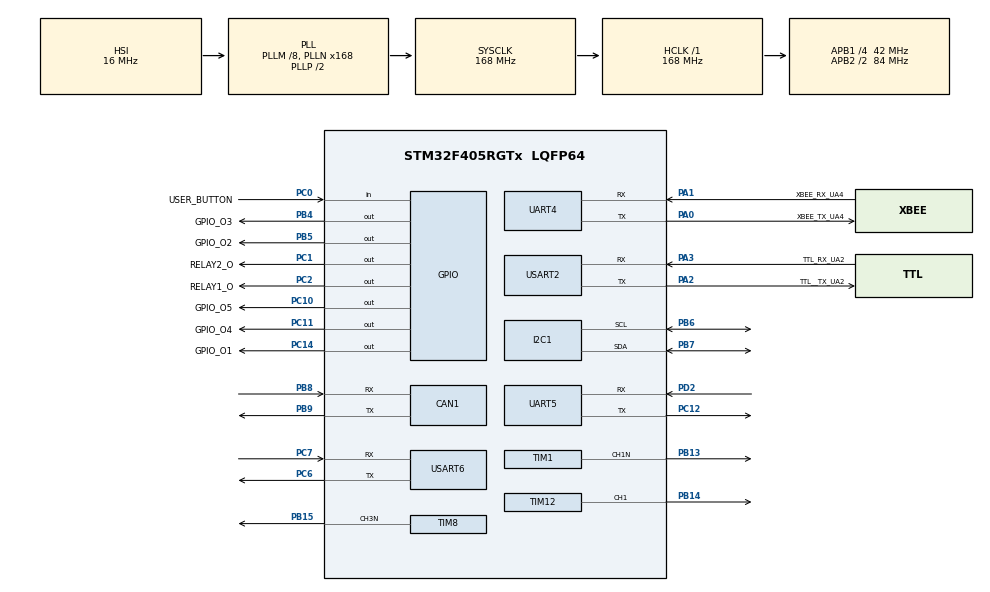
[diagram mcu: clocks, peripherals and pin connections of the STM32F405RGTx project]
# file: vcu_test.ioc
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CAN1.CalculateTimeQuantum=380.95238095238096
Mcu.Family=STM32F4
Mcu.Name=STM32F405RGTx
Mcu.Package=LQFP64
NVIC.PriorityGroup=NVIC_PRIORITYGROUP_4
PA0-WKUP.GPIO_Label=XBEE_TX_UA4
PA0-WKUP.Mode=Asynchronous
PA0-WKUP.Signal=UART4_TX
PA1.GPIO_Label=XBEE_RX_UA4
PA1.Mode=Asynchronous
PA1.Signal=UART4_RX
PA13.Mode=Serial_Wire
PA13.Signal=SYS_JTMS-SWDIO
PA14.Mode=Serial_Wire
PA14.Signal=SYS_JTCK-SWCLK
PA2.GPIO_Label=TTL__TX_UA2
PA2.Mode=Asynchronous
PA2.Signal=USART2_TX
PA3.GPIO_Label=TTL_RX_UA2
PA3.Mode=Asynchronous
PA3.Signal=USART2_RX
PB13.Mode=PWM Generation1 CH1N
PB13.Signal=TIM1_CH1N
PB14.Signal=S_TIM12_CH1
PB15.Mode=PWM Generation3 CH3N
PB15.Signal=TIM8_CH3N
PB3.Signal=SYS_JTDO-SWO
PB4.GPIO_Label=GPIO_O3
PB4.Signal=GPIO_Output
PB5.GPIO_Label=GPIO_O2
PB5.Signal=GPIO_Output
PB6.Mode=I2C
PB6.Signal=I2C1_SCL
PB7.Mode=I2C
PB7.Signal=I2C1_SDA
PB8.Mode=Master
PB8.Signal=CAN1_RX
PB9.Mode=Master
PB9.Signal=CAN1_TX
PC0.GPIO_Label=USER_BUTTON
PC0.Signal=GPIO_Input
PC1.GPIO_Label=RELAY2_O
PC1.Signal=GPIO_Output
PC10.GPIO_Label=GPIO_O5
PC10.Signal=GPIO_Output
PC11.GPIO_Label=GPIO_O4
PC11.Signal=GPIO_Output
PC12.Mode=Asynchronous
PC12.Signal=UART5_TX
PC14-OSC32_IN.GPIO_Label=GPIO_O1
PC14-OSC32_IN.Signal=GPIO_Output
PC2.GPIO_Label=RELAY1_O
PC2.Signal=GPIO_Output
PC6.Mode=Asynchronous
PC6.Signal=USART6_TX
PC7.Mode=Asynchronous
PC7.Signal=USART6_RX
PD2.Mode=Asynchronous
PD2.Signal=UART5_RX
PH0-OSC_IN.Mode=HSE-External-Oscillator
PH0-OSC_IN.Signal=RCC_OSC_IN
PH1-OSC_OUT.Mode=HSE-External-Oscillator
PH1-OSC_OUT.Signal=RCC_OSC_OUT
ProjectManager.HeapSize=0x200
ProjectManager.StackSize=0x400
ProjectManager.TargetToolchain=STM32CubeIDE
RCC.48MHZClocksFreq_Value=84000000
RCC.AHBFreq_Value=168000000
RCC.APB1CLKDivider=RCC_HCLK_DIV4
RCC.APB1Freq_Value=42000000
RCC.APB1TimFreq_Value=84000000
RCC.APB2CLKDivider=RCC_HCLK_DIV2
RCC.APB2Freq_Value=84000000
RCC.APB2TimFreq_Value=168000000
RCC.CortexFreq_Value=168000000
RCC.HCLKFreq_Value=168000000
RCC.HSE_VALUE=25000000
RCC.HSI_VALUE=16000000
RCC.LSE_VALUE=32768
RCC.PLLM=8
RCC.PLLN=168
RCC.SYSCLKFreq_VALUE=168000000
RCC.SYSCLKSource=RCC_SYSCLKSOURCE_PLLCLK
RCC.VCOOutputFreq_Value=336000000
SH.S_TIM12_CH1.0=TIM12_CH1,PWM Generation1 CH1
TIM1.Channel-PWM\ Generation1\ CH1N=TIM_CHANNEL_1
TIM1.Period=4718
TIM1.Prescaler=355
TIM12.Channel-PWM\ Generation1\ CH1=TIM_CHANNEL_1
TIM8.Channel-PWM\ Generation3\ CH3N=TIM_CHANNEL_3
UART4.VirtualMode=Asynchronous
UART5.VirtualMode=Asynchronous
USART2.VirtualMode=VM_ASYNC
USART6.VirtualMode=VM_ASYNC
board=custom

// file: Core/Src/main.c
/* USER CODE BEGIN Header */
/**
  ******************************************************************************
  * @file           : main.c
  * @brief          : Main program body
  ******************************************************************************
  * @attention
  *
  * <h2><center>&copy; Copyright (c) 2021 STMicroelectronics.
  * All rights reserved.</center></h2>
  *
  * This software component is licensed by ST under BSD 3-Clause license,
  * the "License"; You may not use this file except in compliance with the
  * License. You may obtain a copy of the License at:
  *                        opensource.org/licenses/BSD-3-Clause
  *
  ******************************************************************************
  */
/* USER CODE END Header */
#include "main.h"

/* USER CODE BEGIN Includes */
#include "stm32f4xx.h"
#include "stm32f4xx_hal.h"
#include "stdio.h"
#include "stdbool.h"
/* USER CODE END Includes */

CAN_HandleTypeDef hcan1;

I2C_HandleTypeDef hi2c1;

TIM_HandleTypeDef htim1;
TIM_HandleTypeDef htim8;
TIM_HandleTypeDef htim12;

UART_HandleTypeDef huart4;
UART_HandleTypeDef huart5;
UART_HandleTypeDef huart2;
UART_HandleTypeDef huart6;

void SystemClock_Config(void);
static void MX_GPIO_Init(void);
static void MX_TIM1_Init(void);
static void MX_TIM8_Init(void);
static void MX_TIM12_Init(void);
static void MX_CAN1_Init(void);
static void MX_I2C1_Init(void);
static void MX_UART4_Init(void);
static void MX_UART5_Init(void);
static void MX_USART2_UART_Init(void);
static void MX_USART6_UART_Init(void);

/* USER CODE BEGIN 0 */
void servo_angle(int angle)
{
	if(angle<0)
		angle = 0;
	if(angle>180)
		angle = 180;
	angle = angle +45;
	__HAL_TIM_SET_COMPARE(&htim1, TIM_CHANNEL_1, angle);
}

void relay_test(void)
{
HAL_GPIO_WritePin(GPIOC, GPIO_PIN_2, GPIO_PIN_RESET);
HAL_Delay(1000);
HAL_GPIO_WritePin(GPIOC, GPIO_PIN_2, GPIO_PIN_SET);
HAL_Delay(1000);

}

/* USER CODE END 0 */

int main(void)
{

  /* MCU Configuration--------------------------------------------------------*/

  /* Reset of all peripherals, Initializes the Flash interface and the Systick. */
  HAL_Init();

  /* Configure the system clock */
  SystemClock_Config();

  /* Initialize all configured peripherals */
  MX_GPIO_Init();
  MX_TIM1_Init();
  MX_TIM8_Init();
  MX_TIM12_Init();
  MX_CAN1_Init();
  MX_I2C1_Init();
  MX_UART4_Init();
  MX_UART5_Init();
  MX_USART2_UART_Init();
  MX_USART6_UART_Init();
  /* USER CODE BEGIN 2 */
  HAL_TIM_PWM_Start(&htim1, TIM_CHANNEL_1);
  /* USER CODE END 2 */

  /* Infinite loop */
  /* USER CODE BEGIN WHILE */
  while (1)
  {

	  for(int i = 0; i<=180;i++)
	  	  {
	  		  servo_angle(i);
	  		  HAL_Delay(10);
	  	  }
	  	  servo_angle(0);
	  	  HAL_Delay(1000);
	  	  servo_angle(100);
	  	  HAL_Delay(2000);
    /* USER CODE END WHILE */

  }
}

void SystemClock_Config(void)
{
  RCC_OscInitTypeDef RCC_OscInitStruct = {0};
  RCC_ClkInitTypeDef RCC_ClkInitStruct = {0};

  /** Configure the main internal regulator output voltage
  */
  __HAL_RCC_PWR_CLK_ENABLE();
  __HAL_PWR_VOLTAGESCALING_CONFIG(PWR_REGULATOR_VOLTAGE_SCALE1);
  /** Initializes the RCC Oscillators according to the specified parameters
  * in the RCC_OscInitTypeDef structure.
  */
  RCC_OscInitStruct.OscillatorType = RCC_OSCILLATORTYPE_HSI;
  RCC_OscInitStruct.HSIState = RCC_HSI_ON;
  RCC_OscInitStruct.HSICalibrationValue = RCC_HSICALIBRATION_DEFAULT;
  RCC_OscInitStruct.PLL.PLLState = RCC_PLL_ON;
  RCC_OscInitStruct.PLL.PLLSource = RCC_PLLSOURCE_HSI;
  RCC_OscInitStruct.PLL.PLLM = 8;
  RCC_OscInitStruct.PLL.PLLN = 168;
  RCC_OscInitStruct.PLL.PLLP = RCC_PLLP_DIV2;
  RCC_OscInitStruct.PLL.PLLQ = 4;
  if (HAL_RCC_OscConfig(&RCC_OscInitStruct) != HAL_OK)
  {
    Error_Handler();
  }
  /** Initializes the CPU, AHB and APB buses clocks
  */
  RCC_ClkInitStruct.ClockType = RCC_CLOCKTYPE_HCLK|RCC_CLOCKTYPE_SYSCLK
                              |RCC_CLOCKTYPE_PCLK1|RCC_CLOCKTYPE_PCLK2;
  RCC_ClkInitStruct.SYSCLKSource = RCC_SYSCLKSOURCE_PLLCLK;
  RCC_ClkInitStruct.AHBCLKDivider = RCC_SYSCLK_DIV1;
  RCC_ClkInitStruct.APB1CLKDivider = RCC_HCLK_DIV4;
  RCC_ClkInitStruct.APB2CLKDivider = RCC_HCLK_DIV2;

  if (HAL_RCC_ClockConfig(&RCC_ClkInitStruct, FLASH_LATENCY_5) != HAL_OK)
  {
    Error_Handler();
  }
}

static void MX_CAN1_Init(void)
{

  hcan1.Instance = CAN1;
  hcan1.Init.Prescaler = 16;
  hcan1.Init.Mode = CAN_MODE_NORMAL;
  hcan1.Init.SyncJumpWidth = CAN_SJW_1TQ;
  hcan1.Init.TimeSeg1 = CAN_BS1_1TQ;
  hcan1.Init.TimeSeg2 = CAN_BS2_1TQ;
  hcan1.Init.TimeTriggeredMode = DISABLE;
  hcan1.Init.AutoBusOff = DISABLE;
  hcan1.Init.AutoWakeUp = DISABLE;
  hcan1.Init.AutoRetransmission = DISABLE;
  hcan1.Init.ReceiveFifoLocked = DISABLE;
  hcan1.Init.TransmitFifoPriority = DISABLE;
  if (HAL_CAN_Init(&hcan1) != HAL_OK)
  {
    Error_Handler();
  }

}

static void MX_I2C1_Init(void)
{

  hi2c1.Instance = I2C1;
  hi2c1.Init.ClockSpeed = 100000;
  hi2c1.Init.DutyCycle = I2C_DUTYCYCLE_2;
  hi2c1.Init.OwnAddress1 = 0;
  hi2c1.Init.AddressingMode = I2C_ADDRESSINGMODE_7BIT;
  hi2c1.Init.DualAddressMode = I2C_DUALADDRESS_DISABLE;
  hi2c1.Init.OwnAddress2 = 0;
  hi2c1.Init.GeneralCallMode = I2C_GENERALCALL_DISABLE;
  hi2c1.Init.NoStretchMode = I2C_NOSTRETCH_DISABLE;
  if (HAL_I2C_Init(&hi2c1) != HAL_OK)
  {
    Error_Handler();
  }

}

static void MX_TIM1_Init(void)
{

  TIM_MasterConfigTypeDef sMasterConfig = {0};
  TIM_OC_InitTypeDef sConfigOC = {0};
  TIM_BreakDeadTimeConfigTypeDef sBreakDeadTimeConfig = {0};

  htim1.Instance = TIM1;
  htim1.Init.Prescaler = 355;
  htim1.Init.CounterMode = TIM_COUNTERMODE_UP;
  htim1.Init.Period = 4718;
  htim1.Init.ClockDivision = TIM_CLOCKDIVISION_DIV1;
  htim1.Init.RepetitionCounter = 0;
  htim1.Init.AutoReloadPreload = TIM_AUTORELOAD_PRELOAD_DISABLE;
  if (HAL_TIM_PWM_Init(&htim1) != HAL_OK)
  {
    Error_Handler();
  }
  sMasterConfig.MasterOutputTrigger = TIM_TRGO_RESET;
  sMasterConfig.MasterSlaveMode = TIM_MASTERSLAVEMODE_DISABLE;
  if (HAL_TIMEx_MasterConfigSynchronization(&htim1, &sMasterConfig) != HAL_OK)
  {
    Error_Handler();
  }
  sConfigOC.OCMode = TIM_OCMODE_PWM1;
  sConfigOC.Pulse = 0;
  sConfigOC.OCPolarity = TIM_OCPOLARITY_HIGH;
  sConfigOC.OCNPolarity = TIM_OCNPOLARITY_HIGH;
  sConfigOC.OCFastMode = TIM_OCFAST_DISABLE;
  sConfigOC.OCIdleState = TIM_OCIDLESTATE_RESET;
  sConfigOC.OCNIdleState = TIM_OCNIDLESTATE_RESET;
  if (HAL_TIM_PWM_ConfigChannel(&htim1, &sConfigOC, TIM_CHANNEL_1) != HAL_OK)
  {
    Error_Handler();
  }
  sBreakDeadTimeConfig.OffStateRunMode = TIM_OSSR_DISABLE;
  sBreakDeadTimeConfig.OffStateIDLEMode = TIM_OSSI_DISABLE;
  sBreakDeadTimeConfig.LockLevel = TIM_LOCKLEVEL_OFF;
  sBreakDeadTimeConfig.DeadTime = 0;
  sBreakDeadTimeConfig.BreakState = TIM_BREAK_DISABLE;
  sBreakDeadTimeConfig.BreakPolarity = TIM_BREAKPOLARITY_HIGH;
  sBreakDeadTimeConfig.AutomaticOutput = TIM_AUTOMATICOUTPUT_DISABLE;
  if (HAL_TIMEx_ConfigBreakDeadTime(&htim1, &sBreakDeadTimeConfig) != HAL_OK)
  {
    Error_Handler();
  }
  HAL_TIM_MspPostInit(&htim1);

}

static void MX_TIM8_Init(void)
{

  TIM_MasterConfigTypeDef sMasterConfig = {0};
  TIM_OC_InitTypeDef sConfigOC = {0};
  TIM_BreakDeadTimeConfigTypeDef sBreakDeadTimeConfig = {0};

  htim8.Instance = TIM8;
  htim8.Init.Prescaler = 0;
  htim8.Init.CounterMode = TIM_COUNTERMODE_UP;
  htim8.Init.Period = 65535;
  htim8.Init.ClockDivision = TIM_CLOCKDIVISION_DIV1;
  htim8.Init.RepetitionCounter = 0;
  htim8.Init.AutoReloadPreload = TIM_AUTORELOAD_PRELOAD_DISABLE;
  if (HAL_TIM_PWM_Init(&htim8) != HAL_OK)
  {
    Error_Handler();
  }
  sMasterConfig.MasterOutputTrigger = TIM_TRGO_RESET;
  sMasterConfig.MasterSlaveMode = TIM_MASTERSLAVEMODE_DISABLE;
  if (HAL_TIMEx_MasterConfigSynchronization(&htim8, &sMasterConfig) != HAL_OK)
  {
    Error_Handler();
  }
  sConfigOC.OCMode = TIM_OCMODE_PWM1;
  sConfigOC.Pulse = 0;
  sConfigOC.OCPolarity = TIM_OCPOLARITY_HIGH;
  sConfigOC.OCNPolarity = TIM_OCNPOLARITY_HIGH;
  sConfigOC.OCFastMode = TIM_OCFAST_DISABLE;
  sConfigOC.OCIdleState = TIM_OCIDLESTATE_RESET;
  sConfigOC.OCNIdleState = TIM_OCNIDLESTATE_RESET;
  if (HAL_TIM_PWM_ConfigChannel(&htim8, &sConfigOC, TIM_CHANNEL_3) != HAL_OK)
  {
    Error_Handler();
  }
  sBreakDeadTimeConfig.OffStateRunMode = TIM_OSSR_DISABLE;
  sBreakDeadTimeConfig.OffStateIDLEMode = TIM_OSSI_DISABLE;
  sBreakDeadTimeConfig.LockLevel = TIM_LOCKLEVEL_OFF;
  sBreakDeadTimeConfig.DeadTime = 0;
  sBreakDeadTimeConfig.BreakState = TIM_BREAK_DISABLE;
  sBreakDeadTimeConfig.BreakPolarity = TIM_BREAKPOLARITY_HIGH;
  sBreakDeadTimeConfig.AutomaticOutput = TIM_AUTOMATICOUTPUT_DISABLE;
  if (HAL_TIMEx_ConfigBreakDeadTime(&htim8, &sBreakDeadTimeConfig) != HAL_OK)
  {
    Error_Handler();
  }
  HAL_TIM_MspPostInit(&htim8);

}

static void MX_TIM12_Init(void)
{

  TIM_OC_InitTypeDef sConfigOC = {0};

  htim12.Instance = TIM12;
  htim12.Init.Prescaler = 0;
  htim12.Init.CounterMode = TIM_COUNTERMODE_UP;
  htim12.Init.Period = 65535;
  htim12.Init.ClockDivision = TIM_CLOCKDIVISION_DIV1;
  htim12.Init.AutoReloadPreload = TIM_AUTORELOAD_PRELOAD_DISABLE;
  if (HAL_TIM_PWM_Init(&htim12) != HAL_OK)
  {
    Error_Handler();
  }
  sConfigOC.OCMode = TIM_OCMODE_PWM1;
  sConfigOC.Pulse = 0;
  sConfigOC.OCPolarity = TIM_OCPOLARITY_HIGH;
  sConfigOC.OCFastMode = TIM_OCFAST_DISABLE;
  if (HAL_TIM_PWM_ConfigChannel(&htim12, &sConfigOC, TIM_CHANNEL_1) != HAL_OK)
  {
    Error_Handler();
  }
  HAL_TIM_MspPostInit(&htim12);

}

static void MX_UART4_Init(void)
{

  huart4.Instance = UART4;
  huart4.Init.BaudRate = 115200;
  huart4.Init.WordLength = UART_WORDLENGTH_8B;
  huart4.Init.StopBits = UART_STOPBITS_1;
  huart4.Init.Parity = UART_PARITY_NONE;
  huart4.Init.Mode = UART_MODE_TX_RX;
  huart4.Init.HwFlowCtl = UART_HWCONTROL_NONE;
  huart4.Init.OverSampling = UART_OVERSAMPLING_16;
  if (HAL_UART_Init(&huart4) != HAL_OK)
  {
    Error_Handler();
  }

}

static void MX_UART5_Init(void)
{

  huart5.Instance = UART5;
  huart5.Init.BaudRate = 115200;
  huart5.Init.WordLength = UART_WORDLENGTH_8B;
  huart5.Init.StopBits = UART_STOPBITS_1;
  huart5.Init.Parity = UART_PARITY_NONE;
  huart5.Init.Mode = UART_MODE_TX_RX;
  huart5.Init.HwFlowCtl = UART_HWCONTROL_NONE;
  huart5.Init.OverSampling = UART_OVERSAMPLING_16;
  if (HAL_UART_Init(&huart5) != HAL_OK)
  {
    Error_Handler();
  }

}

static void MX_USART2_UART_Init(void)
{

  huart2.Instance = USART2;
  huart2.Init.BaudRate = 115200;
  huart2.Init.WordLength = UART_WORDLENGTH_8B;
  huart2.Init.StopBits = UART_STOPBITS_1;
  huart2.Init.Parity = UART_PARITY_NONE;
  huart2.Init.Mode = UART_MODE_TX_RX;
  huart2.Init.HwFlowCtl = UART_HWCONTROL_NONE;
  huart2.Init.OverSampling = UART_OVERSAMPLING_16;
  if (HAL_UART_Init(&huart2) != HAL_OK)
  {
    Error_Handler();
  }

}

static void MX_USART6_UART_Init(void)
{

  huart6.Instance = USART6;
  huart6.Init.BaudRate = 115200;
  huart6.Init.WordLength = UART_WORDLENGTH_8B;
  huart6.Init.StopBits = UART_STOPBITS_1;
  huart6.Init.Parity = UART_PARITY_NONE;
  huart6.Init.Mode = UART_MODE_TX_RX;
  huart6.Init.HwFlowCtl = UART_HWCONTROL_NONE;
  huart6.Init.OverSampling = UART_OVERSAMPLING_16;
  if (HAL_UART_Init(&huart6) != HAL_OK)
  {
    Error_Handler();
  }

}

static void MX_GPIO_Init(void)
{
  GPIO_InitTypeDef GPIO_InitStruct = {0};

  /* GPIO Ports Clock Enable */
  __HAL_RCC_GPIOC_CLK_ENABLE();
  __HAL_RCC_GPIOH_CLK_ENABLE();
  __HAL_RCC_GPIOA_CLK_ENABLE();
  __HAL_RCC_GPIOB_CLK_ENABLE();
  __HAL_RCC_GPIOD_CLK_ENABLE();

  /*Configure GPIO pin Output Level */
  HAL_GPIO_WritePin(GPIOC, GPIO_O1_Pin|RELAY2_O_Pin|RELAY1_O_Pin|GPIO_O5_Pin
                          |GPIO_O4_Pin, GPIO_PIN_RESET);

  /*Configure GPIO pin Output Level */
  HAL_GPIO_WritePin(GPIOB, GPIO_O3_Pin|GPIO_O2_Pin, GPIO_PIN_RESET);

  /*Configure GPIO pins : GPIO_O1_Pin RELAY2_O_Pin RELAY1_O_Pin GPIO_O5_Pin
                           GPIO_O4_Pin */
  GPIO_InitStruct.Pin = GPIO_O1_Pin|RELAY2_O_Pin|RELAY1_O_Pin|GPIO_O5_Pin
                          |GPIO_O4_Pin;
  GPIO_InitStruct.Mode = GPIO_MODE_OUTPUT_PP;
  GPIO_InitStruct.Pull = GPIO_NOPULL;
  GPIO_InitStruct.Speed = GPIO_SPEED_FREQ_LOW;
  HAL_GPIO_Init(GPIOC, &GPIO_InitStruct);

  /*Configure GPIO pin : USER_BUTTON_Pin */
  GPIO_InitStruct.Pin = USER_BUTTON_Pin;
  GPIO_InitStruct.Mode = GPIO_MODE_INPUT;
  GPIO_InitStruct.Pull = GPIO_NOPULL;
  HAL_GPIO_Init(USER_BUTTON_GPIO_Port, &GPIO_InitStruct);

  /*Configure GPIO pins : GPIO_O3_Pin GPIO_O2_Pin */
  GPIO_InitStruct.Pin = GPIO_O3_Pin|GPIO_O2_Pin;
  GPIO_InitStruct.Mode = GPIO_MODE_OUTPUT_PP;
  GPIO_InitStruct.Pull = GPIO_NOPULL;
  GPIO_InitStruct.Speed = GPIO_SPEED_FREQ_LOW;
  HAL_GPIO_Init(GPIOB, &GPIO_InitStruct);

}

void Error_Handler(void)
{
}

/************************ (C) COPYRIGHT STMicroelectronics *****END OF FILE****/
